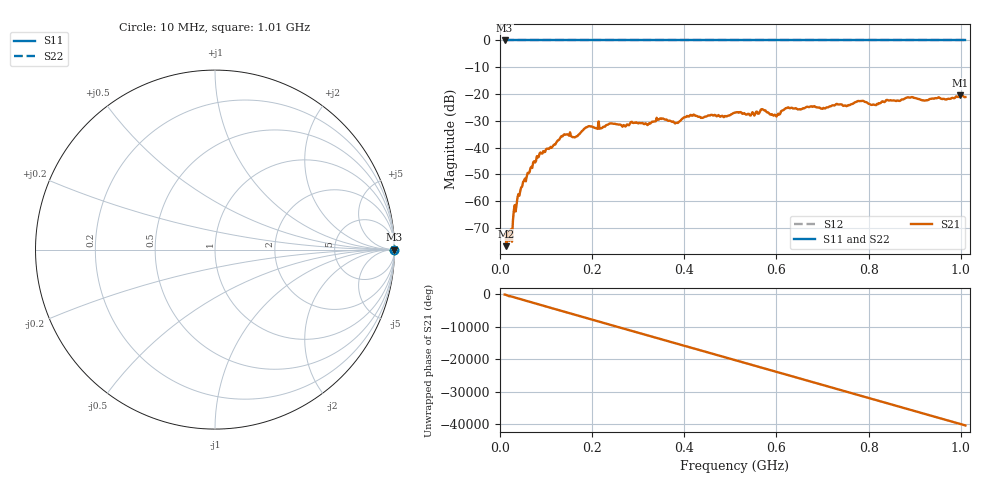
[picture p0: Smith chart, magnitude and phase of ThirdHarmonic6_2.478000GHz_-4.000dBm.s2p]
! 8/17/2025 4:36:11 AM
! C:\ANRITSUVNA\TEMP\TEMP.S2P
! CHANNEL.1
! TR.MEASUREMENT
! RAW.DATA
! RF.CORRECTION.OFF
! AVERAGING.OFF
! IF.BANDWIDTH: 5KHZ
! SWEEPTYPE:  FREQ.SWEEP(Linear)
! Reference Plane Port Info
! PORT:  PORT1  PORT2
! DISTANCE:  0  m  0  m
! TIME:  0  s  0  s
! PHASE.OFFSET:  0  deg.  0  deg.
! LOSS:  0  dB  0  dB
! REF.LOSS:  0  dB  0  dB
! REF.FREQ:  0  Hz  0  Hz
! Power Info
! POWER:  -20  dBm  -20  dBm
! EFF.POWER:  -20  dBm  -20  dBm
! SOURCE.ATTEN:  0  dB  0  dB
! TEST.ATTEN:  0  dB  0  dB
# GHZ S RI R 50.0
! FREQ.GHZ  S11RE  S11IM  S21RE  S21IM  S12RE  S12IM  S22RE  S22IM
!; PortSelection: Port_12
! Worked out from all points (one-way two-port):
!   501 points, 10 MHz to 1.01 GHz, reference 50 ohm
!   highest |S21| = -20.47 dB at 998 MHz (marker M1); lowest = -76.8 dB at 14 MHz (marker M2)
!   lowest |S11| = 0.0 dB at 10 MHz (marker M3)
!   |S11| at or under -10 dB: nowhere
!   |S22| runs from 0.0 to 0.0 dB; largest |S21 - S12| = 1.1
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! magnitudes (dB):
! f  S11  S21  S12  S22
! 10 MHz  0.0  -72.4  0.0  0.0
! 14 MHz  0.0  -76.8  0.0  0.0
! 22 MHz  0.0  -71.1  0.0  0.0
! 34 MHz  0.0  -63.8  0.0  0.0
! 50 MHz  0.0  -52.9  0.0  0.0
! 84 MHz  0.0  -43.5  0.0  0.0
! 136 MHz  0.0  -35.8  0.0  0.0
! 164 MHz  0.0  -36.0  0.0  0.0
! 178 MHz  0.0  -33.8  0.0  0.0
! 240 MHz  0.0  -31.0  0.0  0.0
! 322 MHz  0.0  -31.3  0.0  0.0
! 344 MHz  0.0  -29.6  0.0  0.0
! 382 MHz  0.0  -30.7  0.0  0.0
! 416 MHz  0.0  -28.1  0.0  0.0
! 510 MHz  0.0  -26.9  0.0  0.0
! 570 MHz  0.0  -25.7  0.0  0.0
! 598 MHz  0.0  -27.9  0.0  0.0
! 622 MHz  0.0  -25.3  0.0  0.0
! 678 MHz  0.0  -24.8  0.0  0.0
! 844 MHz  0.0  -22.4  0.0  0.0
! 998 MHz  0.0  -20.5  0.0  0.0
! 1.01 GHz  0.0  -21.1  0.0  0.0
